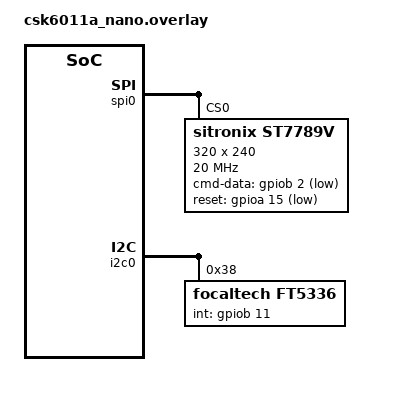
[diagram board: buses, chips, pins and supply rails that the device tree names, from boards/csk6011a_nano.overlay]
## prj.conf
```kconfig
CONFIG_LV_Z_MEM_POOL_NUMBER_BLOCKS=8
CONFIG_MAIN_STACK_SIZE=20480

CONFIG_DISPLAY=y
CONFIG_DISPLAY_LOG_LEVEL_ERR=y

CONFIG_LOG=y

CONFIG_LVGL=y
CONFIG_LV_MEM_CUSTOM=y
CONFIG_LV_USE_LOG=y
CONFIG_LV_USE_LABEL=y
CONFIG_LV_USE_BTN=y
CONFIG_LV_USE_IMG=y
CONFIG_LV_FONT_MONTSERRAT_14=y

CONFIG_LV_USE_DEMO_BENCHMARK=y

CONFIG_LV_COLOR_DEPTH_16=y
CONFIG_LV_COLOR_16_SWAP=y

CONFIG_LV_USE_PERF_MONITOR=y
CONFIG_LV_PERF_MONITOR_ALIGN_BOTTOM_RIGHT=y
# CONFIG_LOG_MODE_IMMEDIATE=y
```

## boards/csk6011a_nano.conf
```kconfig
CONFIG_HEAP_MEM_POOL_SIZE=16384
CONFIG_LOG=y

CONFIG_GPIO=y

CONFIG_DISPLAY=y
CONFIG_SPI=y
CONFIG_ST7789V_CSK6=y
CONFIG_ST7789V_CSK6_ROTATE_90=y

CONFIG_KSCAN=y
CONFIG_I2C=y
CONFIG_KSCAN_FT5336=y
CONFIG_KSCAN_FT5336_INTERRUPT=y

CONFIG_LV_Z_DRIVER_CSK6_16BIT=y
CONFIG_ST7789V_CSK6_ROTATE_90=y
CONFIG_LV_Z_VDB_SIZE=100

CONFIG_LV_USE_DEMO_BENCHMARK=y

CONFIG_LV_COLOR_DEPTH_16=y
CONFIG_LV_COLOR_16_SWAP=n

CONFIG_LV_USE_PERF_MONITOR=y
CONFIG_LV_PERF_MONITOR_ALIGN_BOTTOM_RIGHT=y

# LVGL-ZEPHYR接口 自定义heap段
CONFIG_LV_Z_MEM_CUSTOM_SECTION=y
CONFIG_LV_Z_MEM_CUSTOM_SECTION_NAME=".psram_section"

# 自定义内存的大小配置，包含所有的LVGL对象  
CONFIG_LV_Z_MEM_POOL_MAX_SIZE=1024
CONFIG_LV_Z_MEM_POOL_NUMBER_BLOCKS=500

# 使用PSRAM的话，必须打开这个宏，这样所有的LVGL对象都从自定义段中分配内存  
CONFIG_LV_MEM_CUSTOM=y

## LVGL显存内存池配置，使用PSRAM的话 必须打开这个宏
CONFIG_LV_Z_BUFFER_ALLOC_DYNAMIC=y

# 双缓冲区会提高帧率，占会大量占用内存
# 在开启双缓冲区的情况下，确保LVGL线程不是协程，
# 且COFNIG_LV_Z_DRIVER_SPD2010_THREAD_PRIORITY的优先级必须要高于LVGL线程
# 默认将会发生死锁
# 
CONFIG_LV_Z_DOUBLE_VDB=y
CONFIG_LV_Z_DRIVER_CSK6_16BIT_THREAD_PRIORITY=1
CONFIG_MAIN_THREAD_PRIORITY=2
```

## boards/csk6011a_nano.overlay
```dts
/*
 * Copyright (c) 2023 Anhui(Shenzhen) Listenai Co., Ltd.
 *
 * SPDX-License-Identifier: Apache-2.0
 */
&pinctrl {

	pinctrl_i2c0_scl_default: i2c0_scl_default{
		pinctrls = <I2C0_SCL_GPIOB_04>;
	};

	pinctrl_i2c0_sda_default: i2c0_sda_default{
		pinctrls = <I2C0_SDA_GPIOB_03>;
	};

	pinctrl_spi0_sclk_default: spi0_sclk_default {
		pinctrls = <&pinmuxb 1 6>;
	};
	pinctrl_spi0_mosi_default: spi0_mosi_default {
		pinctrls = <&pinmuxb 10 6>;
	};
	pinctrl_spi0_miso_default: spi0_miso_default {
		pinctrls = <&pinmuxa 17 6>;
	};
	pinctrl_spi0_cs_default: spi0_cs_default {
		pinctrls = <&pinmuxb 0 6>;
	};

};

&spi0 {
	status = "okay";
	pinctrl-0 = <&pinctrl_spi0_sclk_default &pinctrl_spi0_mosi_default &pinctrl_spi0_miso_default &pinctrl_spi0_cs_default>;
	pinctrl-names = "default";

	st7789v:st7789v@0 {
		compatible = "sitronix,st7789v";
		label = "ST7789V";
		status = "okay";
		spi-max-frequency = <20000000>;
		reg = <0>;
		cmd-data-gpios = <&gpiob 2 1>;
		reset-gpios = <&gpioa 15 1>;
		width = <320>;
		height = <240>;
		x-offset = <0>;
		y-offset = <0>;
		// reg: 0xBB
		vcom = <0x1e>;
		// reg: 0xB7
		gctrl = <0x35>;
		// reg: 0xC3
		vrhs = <0x0b>;
		// reg: 0xC4
		vdvs = <0x20>;
		// reg: 0x36
		mdac = <0xA3>;
		// reg: 0x26
		gamma = <0x01>;
		// reg: 0x3a
		colmod = <0x05>;
		// reg: 0xc0
		lcm = <0x3c>;
		// reg: 0xb2
		porch-param = [ 0c 0c 00 33 33  ];
		// reg: 0xDF
		cmd2en-param = [ 5a 69 02 01  ];
		// reg: 0xD0
		pwctrl1-param = [ a4 a1  ];
		// reg: 0xE0
		pvgam-param = [ d0 06 0b 07 07 24 2e 32 46 37 13 13 2d 33  ];
		// reg: 0xE1
		nvgam-param = [ d0 02 06 09 08 05 29 44 42 38 14 14 2a 30  ];
		// reg: b0
		ram-param = [ 00 F0  ];
		// reg: b1
		rgb-param = [ CD 08 14  ];
	};
};

&i2c0 {
	status = "okay";
	pinctrl-0 = <&pinctrl_i2c0_scl_default &pinctrl_i2c0_sda_default>;
	pinctrl-names = "default";
	ft5336@0 {
		compatible = "focaltech,ft5336";
		reg = <56>;
		label = "FT5336";
		status = "okay";
		int-gpios = <&gpiob 11 0>;
	};
};


/ {
	chosen {
		zephyr,display=&st7789v;
	};
};
```

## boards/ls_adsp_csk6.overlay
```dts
&ls_adsp_csk6_pinctrl {
        pinctrl_uart2_tx_default: uart2_tx_default {
                pinctrls = <&pinmuxb 0x4 0x3>;
        };
};

&spi1 {
        status = "disabled";
};

&spi_fake {
        status = "okay";
        display: ili9341@0 {
                compatible = "ilitek,ili9341";
                status = "okay";
                label = "ILI9341";
                reg = <0>;

                rotation = <270>;
                pixel-format = <1>;
                reset-gpios = <&gpioa 8 1>;
                cmd-data-gpios = <&gpioa 9 1>;
                spi-max-frequency = <25000000>;
                pwctrla = [ 39 2c 00 34 02  ];
                pwctrlb = [ 00 c1 30  ];
                timctrla = [ 85 00 78  ];
                timctrlb = [ 00 00  ];
                pwseqctrl = [ 64 03 12 81  ];
                pwctrl1 = [ 1d  ];
                pwctrl2 = [ 12  ];
                vmctrl1 = [ 33 3f  ];
                vmctrl2 = [ 92  ];
                frmctr1 = [ 00 12  ];
                disctrl = [ 08 82 27  ];
                enable3g = [ 02  ];
                gamset = [ 01  ];
                pumpratioctrl = [ 10  ];
                pgamctrl = [ 0f 22 1c 1b 08 0f 48 b8 34 05 0c 09 0f 07 00  ];
                ngamctrl = [ 00 23 24 07 10 07 38 47 4b 0A 13 06 30 38 0f  ];
                etmod = [ 06  ];
        };
};
```

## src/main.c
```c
/*
 * Copyright (c) 2018 Jan Van Winkel <jan.van_winkel@dxplore.eu>
 *
 * SPDX-License-Identifier: Apache-2.0
 */

#include <zephyr/device.h>
#include <zephyr/drivers/display.h>
#include <lvgl.h>
#include <stdio.h>
#include <string.h>
#include <zephyr/zephyr.h>

#define LOG_LEVEL CONFIG_LOG_DEFAULT_LEVEL
#include <zephyr/logging/log.h>
LOG_MODULE_REGISTER(app);

void main(void)
{
	uint32_t count = 0U;
	char count_str[11] = {0};
	const struct device *display_dev;
	lv_obj_t *hello_world_label;
	lv_obj_t *count_label;

	display_dev = DEVICE_DT_GET(DT_CHOSEN(zephyr_display));
	if (!device_is_ready(display_dev)) {
		LOG_ERR("Device not ready, aborting test");
		return;
	}

	// if (IS_ENABLED(CONFIG_LV_Z_POINTER_KSCAN)) {
	// 	lv_obj_t *hello_world_button;

	// 	hello_world_button = lv_btn_create(lv_scr_act());
	// 	lv_obj_align(hello_world_button, LV_ALIGN_CENTER, 0, 0);
	// 	hello_world_label = lv_label_create(hello_world_button);
	// } else {
	// 	hello_world_label = lv_label_create(lv_scr_act());
	// }

	// lv_label_set_text(hello_world_label, "Hello world!");
	// lv_obj_align(hello_world_label, LV_ALIGN_CENTER, 0, 0);

	// count_label = lv_label_create(lv_scr_act());
	// lv_obj_align(count_label, LV_ALIGN_BOTTOM_MID, 0, 0);

	display_blanking_off(display_dev);
	lv_demo_benchmark();
	lv_task_handler();
	while (1) {
		// if ((count % 100) == 0U) {
		// 	sprintf(count_str, "%d", count/100U);
		// 	lv_label_set_text(count_label, count_str);
		// }
		lv_task_handler();
		k_sleep(K_MSEC(30));
		++count;
	}
}
```
